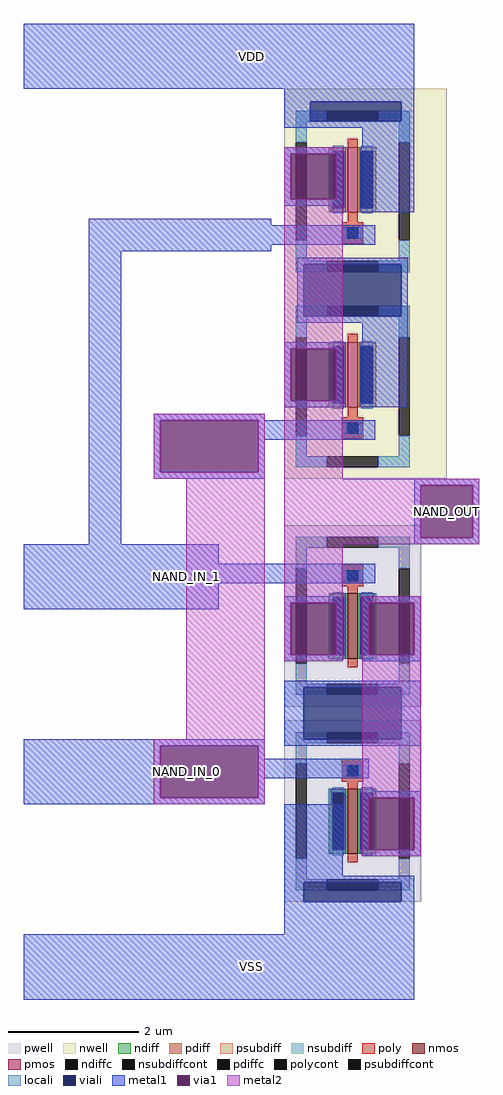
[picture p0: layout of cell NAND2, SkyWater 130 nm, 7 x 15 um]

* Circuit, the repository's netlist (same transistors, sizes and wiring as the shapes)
** sch_path: /home/ttuser/tt_analog_z2a_2/xschem/NAND2.sch
.subckt NAND2 NAND_OUT VDD NAND_IN_1 VSS NAND_IN_0
*.PININFO NAND_IN_0:I NAND_OUT:O VDD:B VSS:B NAND_IN_1:I
XM0 net1 NAND_IN_0 VSS VSS sky130_fd_pr__nfet_01v8 L=0.15 W=1 nf=1 ad='int((nf+1)/2) * W/nf * 0.29' as='int((nf+2)/2) * W/nf * 0.29'
+ pd='2*int((nf+1)/2) * (W/nf + 0.29)' ps='2*int((nf+2)/2) * (W/nf + 0.29)' nrd='0.29 / W' nrs='0.29 / W' sa=0 sb=0 sd=0 mult=1 m=1
XM1 NAND_OUT NAND_IN_1 net1 VSS sky130_fd_pr__nfet_01v8 L=0.15 W=1 nf=1 ad='int((nf+1)/2) * W/nf * 0.29' as='int((nf+2)/2) * W/nf * 0.29'
+ pd='2*int((nf+1)/2) * (W/nf + 0.29)' ps='2*int((nf+2)/2) * (W/nf + 0.29)' nrd='0.29 / W' nrs='0.29 / W' sa=0 sb=0 sd=0 mult=1 m=1
XM12 NAND_OUT NAND_IN_0 VDD VDD sky130_fd_pr__pfet_01v8 L=0.15 W=1 nf=1 ad='int((nf+1)/2) * W/nf * 0.29' as='int((nf+2)/2) * W/nf * 0.29'
+ pd='2*int((nf+1)/2) * (W/nf + 0.29)' ps='2*int((nf+2)/2) * (W/nf + 0.29)' nrd='0.29 / W' nrs='0.29 / W' sa=0 sb=0 sd=0 mult=1 m=1
XM13 NAND_OUT NAND_IN_1 VDD VDD sky130_fd_pr__pfet_01v8 L=0.15 W=1 nf=1 ad='int((nf+1)/2) * W/nf * 0.29' as='int((nf+2)/2) * W/nf * 0.29'
+ pd='2*int((nf+1)/2) * (W/nf + 0.29)' ps='2*int((nf+2)/2) * (W/nf + 0.29)' nrd='0.29 / W' nrs='0.29 / W' sa=0 sb=0 sd=0 mult=1 m=1
.ends
.end

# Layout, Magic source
magic
tech sky130A
magscale 1 2
<< nwell >>
rect 600 400 1100 1600
<< viali >>
rect 680 1500 960 1560
rect 660 900 960 1060
rect 660 -400 960 -240
rect 660 -900 960 -840
<< metal1 >>
rect -200 1600 1000 1800
rect 600 1560 1000 1600
rect 600 1500 680 1560
rect 960 1500 1000 1560
rect 600 1480 1000 1500
rect 600 1400 780 1420
rect 600 1260 620 1400
rect 760 1260 780 1400
rect 600 1240 780 1260
rect 840 1220 1000 1480
rect 0 1180 560 1200
rect 0 1120 880 1180
rect 0 1100 560 1120
rect 0 200 100 1100
rect 640 1060 980 1080
rect 640 900 660 1060
rect 960 900 980 1060
rect 640 880 980 900
rect 600 800 780 820
rect 600 640 620 800
rect 760 640 780 800
rect 600 620 780 640
rect 840 620 980 880
rect 200 580 540 600
rect 200 420 220 580
rect 520 520 880 580
rect 520 420 540 520
rect 200 400 540 420
rect 1000 380 1200 400
rect 1000 220 1020 380
rect 1180 220 1200 380
rect 1000 200 1200 220
rect -200 140 400 200
rect -200 80 880 140
rect -200 0 400 80
rect 600 20 780 40
rect 600 -140 620 20
rect 760 -140 780 20
rect 600 -160 780 -140
rect 840 20 1020 40
rect 840 -140 860 20
rect 1000 -140 1020 20
rect 840 -160 1020 -140
rect 600 -240 1020 -220
rect 600 -400 660 -240
rect 960 -400 1020 -240
rect -200 -420 540 -400
rect 600 -420 1020 -400
rect -200 -580 220 -420
rect 520 -460 540 -420
rect 520 -520 860 -460
rect 520 -580 540 -520
rect -200 -600 540 -580
rect 840 -580 1020 -560
rect 600 -820 780 -600
rect 840 -740 860 -580
rect 1000 -740 1020 -580
rect 840 -760 1020 -740
rect 600 -840 1000 -820
rect 600 -900 660 -840
rect 960 -900 1000 -840
rect 600 -1000 1000 -900
rect -200 -1200 1000 -1000
<< via1 >>
rect 620 1260 760 1400
rect 620 640 760 800
rect 220 420 520 580
rect 1020 220 1180 380
rect 620 -140 760 20
rect 860 -140 1000 20
rect 220 -580 520 -420
rect 860 -740 1000 -580
<< metal2 >>
rect 600 1400 780 1420
rect 600 1260 620 1400
rect 760 1260 780 1400
rect 600 800 780 1260
rect 600 640 620 800
rect 760 640 780 800
rect 200 580 540 600
rect 200 420 220 580
rect 520 420 540 580
rect 200 400 540 420
rect 300 -400 540 400
rect 600 400 780 640
rect 600 380 1200 400
rect 600 220 1020 380
rect 1180 220 1200 380
rect 600 200 1200 220
rect 600 20 780 200
rect 600 -140 620 20
rect 760 -140 780 20
rect 600 -160 780 -140
rect 840 20 1020 40
rect 840 -140 860 20
rect 1000 -140 1020 20
rect 200 -420 540 -400
rect 200 -580 220 -420
rect 520 -580 540 -420
rect 200 -600 540 -580
rect 840 -580 1020 -140
rect 840 -740 860 -580
rect 1000 -740 1020 -580
rect 840 -760 1020 -740
use sky130_fd_pr__nfet_01v8_64Z3AY  sky130_fd_pr__nfet_01v8_64Z3AY_0 ~/tt_analog_z2a_2/mag
transform 1 0 811 0 1 -21
box -211 -279 211 279
use sky130_fd_pr__pfet_01v8_LGS3BL  sky130_fd_pr__pfet_01v8_LGS3BL_0 ~/tt_analog_z2a_2/mag
transform 1 0 811 0 1 1284
box -211 -284 211 284
use sky130_fd_pr__nfet_01v8_64Z3AY  XM0
transform 1 0 811 0 1 -621
box -211 -279 211 279
use sky130_fd_pr__pfet_01v8_LGS3BL  XM12
transform 1 0 811 0 1 684
box -211 -284 211 284
<< labels >>
flabel metal1 400 -1200 600 -1000 0 FreeSans 256 0 0 0 VSS
port 3 nsew
flabel metal1 400 1600 600 1800 0 FreeSans 256 0 0 0 VDD
port 1 nsew
flabel metal1 200 -600 400 -400 0 FreeSans 256 0 0 0 NAND_IN_0
port 4 nsew
flabel metal1 1000 200 1200 400 0 FreeSans 256 0 0 0 NAND_OUT
port 0 nsew
flabel metal1 200 0 400 200 0 FreeSans 256 0 0 0 NAND_IN_1
port 2 nsew
<< end >>

# cell sky130_fd_pr__nfet_01v8_64Z3AY: kit device sky130_fd_pr__nfet_01v8, w 1.0 l 0.15 m 1 nf 1 diffcov 100 polycov 100 guard 1 glc 1 grc 1 gtc 1 gbc 1 tbcov 100 rlcov 100 topc 1 botc 0 poverlap 0 doverlap 1 lmin 0.15 wmin 0.42 compatible {sky130_fd_pr__nfet_01v8 sky130_fd_pr__nfet_01v8_lvt sky130_fd_bs_flash__special_sonosfet_star sky130_fd_pr__nfet_g5v0d10v5 sky130_fd_pr__nfet_05v0_nvt sky130_fd_pr__nfet_03v3_nvt} full_metal 1 viasrc 100 viadrn 100 viagate 100 viagb 0 viagr 0 viagl 0 viagt 0

# cell sky130_fd_pr__pfet_01v8_LGS3BL: kit device sky130_fd_pr__pfet_01v8, w 1.0 l 0.15 m 1 nf 1 diffcov 100 polycov 100 guard 1 glc 1 grc 1 gtc 1 gbc 1 tbcov 100 rlcov 100 topc 0 botc 1 poverlap 0 doverlap 1 lmin 0.15 wmin 0.42 compatible {sky130_fd_pr__pfet_01v8 sky130_fd_pr__pfet_01v8_lvt sky130_fd_pr__pfet_01v8_hvt sky130_fd_pr__pfet_g5v0d10v5} full_metal 1 viasrc 100 viadrn 100 viagate 100 viagb 0 viagr 0 viagl 0 viagt 0
